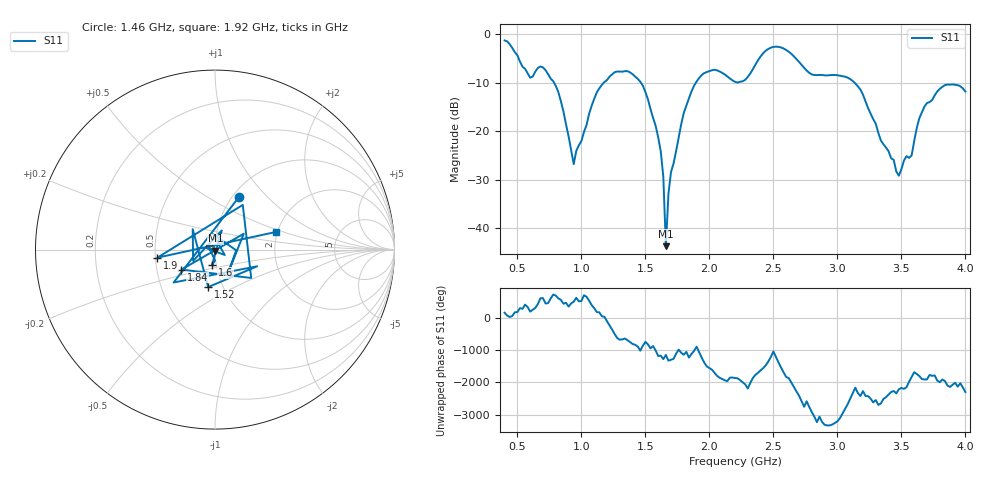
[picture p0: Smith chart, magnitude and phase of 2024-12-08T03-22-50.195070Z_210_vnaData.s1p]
!Created with skrf (http://scikit-rf.org).
# Hz S RI R 50.0
!freq ReS11 ImS11
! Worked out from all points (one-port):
!   181 points, 400 MHz to 4 GHz, reference 50 ohm
!   lowest |S11| = -43.7 dB at 1.66 GHz (marker M1), VSWR 1.01, Z = 50.3 - j0.604 ohm
!   |S11| at or under -10 dB: 785.8 MHz to 1.176 GHz (389.9 MHz wide, 39.8 % of centre); 1.464 GHz to 1.895 GHz (430.7 MHz wide, 25.6 % of centre); 3.133 GHz to end of sweep
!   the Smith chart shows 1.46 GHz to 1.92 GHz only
!   S11 on the Smith chart (normalised r, x): 1.46 GHz: 1.07, +0.70; 1.52 GHz: 0.85, -0.37; 1.6 GHz: 0.95, -0.16; 1.84 GHz: 0.67, -0.16; 1.9 GHz: 0.51, -0.05; 1.92 GHz: 1.96, +0.44
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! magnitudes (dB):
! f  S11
! 400 MHz  -1.3
! 600 MHz  -9.0
! 720 MHz  -7.4
! 860 MHz  -16.0
! 940 MHz  -26.8
! 1.12 GHz  -12.0
! 1.3 GHz  -7.7
! 1.46 GHz  -9.8
! 1.52 GHz  -13.5
! 1.6 GHz  -21.3
! 1.64 GHz  -29.4
! 1.66 GHz  -43.7
! 1.68 GHz  -32.9
! 1.7 GHz  -28.4
! 1.76 GHz  -21.3
! 1.84 GHz  -13.3
! 1.9 GHz  -9.8
! 1.92 GHz  -9.1
! 2.2 GHz  -9.8
! 2.48 GHz  -2.8
! 2.66 GHz  -4.6
! 2.8 GHz  -8.3
! 3.1 GHz  -9.3
! 3.48 GHz  -29.2
! 3.56 GHz  -25.5
! 3.7 GHz  -14.2
! 3.84 GHz  -10.5
! 4 GHz  -11.8
